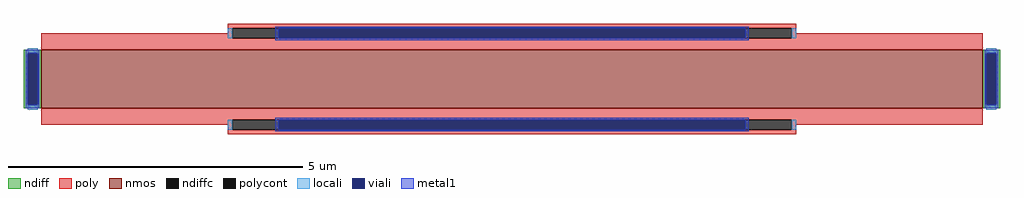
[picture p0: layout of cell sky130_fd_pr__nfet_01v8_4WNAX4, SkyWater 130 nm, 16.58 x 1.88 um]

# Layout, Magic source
magic
tech sky130A
magscale 1 2
<< nmos >>
rect -1600 -100 1600 100
<< ndiff >>
rect -1658 88 -1600 100
rect -1658 -88 -1646 88
rect -1612 -88 -1600 88
rect -1658 -100 -1600 -88
rect 1600 88 1658 100
rect 1600 -88 1612 88
rect 1646 -88 1658 88
rect 1600 -100 1658 -88
<< ndiffc >>
rect -1646 -88 -1612 88
rect 1612 -88 1646 88
<< poly >>
rect -966 172 966 188
rect -966 155 -950 172
rect -1600 138 -950 155
rect 950 155 966 172
rect 950 138 1600 155
rect -1600 100 1600 138
rect -1600 -138 1600 -100
rect -1600 -155 -950 -138
rect -966 -172 -950 -155
rect 950 -155 1600 -138
rect 950 -172 966 -155
rect -966 -188 966 -172
<< polycont >>
rect -950 138 950 172
rect -950 -172 950 -138
<< locali >>
rect -966 138 -950 172
rect 950 138 966 172
rect -1646 88 -1612 104
rect -1646 -104 -1612 -88
rect 1612 88 1646 104
rect 1612 -104 1646 -88
rect -966 -172 -950 -138
rect 950 -172 966 -138
<< viali >>
rect -792 138 792 172
rect -1646 -88 -1612 88
rect 1612 -88 1646 88
rect -792 -172 792 -138
<< metal1 >>
rect -804 172 804 178
rect -804 138 -792 172
rect 792 138 804 172
rect -804 132 804 138
rect -1652 88 -1606 100
rect -1652 -88 -1646 88
rect -1612 -88 -1606 88
rect -1652 -100 -1606 -88
rect 1606 88 1652 100
rect 1606 -88 1612 88
rect 1646 -88 1652 88
rect 1606 -100 1652 -88
rect -804 -138 804 -132
rect -804 -172 -792 -138
rect 792 -172 804 -138
rect -804 -178 804 -172
<< properties >>
string gencell sky130_fd_pr__nfet_01v8
string parameters w 1 l 16 m 1 nf 1 diffcov 100 polycov 60 guard 0 glc 1 grc 1 gtc 1 gbc 1 tbcov 100 rlcov 100 topc 1 botc 1 poverlap 0 doverlap 1 lmin 0.15 wmin 0.42 compatible {sky130_fd_pr__nfet_01v8 sky130_fd_pr__nfet_01v8_lvt  sky130_fd_bs_flash__special_sonosfet_star  sky130_fd_pr__nfet_g5v0d10v5 sky130_fd_pr__nfet_05v0_nvt  sky130_fd_pr__nfet_03v3_nvt} full_metal 1 viasrc 100 viadrn 100 viagate 50 viagb 0 viagr 0 viagl 0 viagt 0
string library sky130
<< end >>
